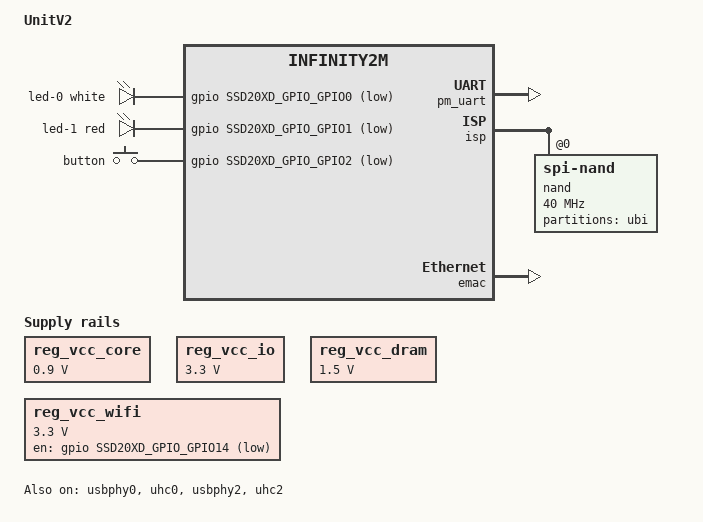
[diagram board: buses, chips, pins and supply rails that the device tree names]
// SPDX-License-Identifier: GPL-2.0-or-later
/*
 * Copyright (c) 2021 thingy.jp.
 * Author: Daniel Palmer <daniel@thingy.jp>
 */

/dts-v1/;
#include "mstar-infinity2m-ssd202d.dtsi"

#include <dt-bindings/gpio/gpio.h>
#include <dt-bindings/leds/common.h>

/ {
	model = "UnitV2";
	compatible = "m5stack,unitv2", "mstar,infinity2m";

	aliases {
		serial0 = &pm_uart;
	};

	chosen {
		stdout-path = "serial0:115200n8";
	};

	leds {
		compatible = "gpio-leds";
		led-0 {
			color = <LED_COLOR_ID_WHITE>;
			function = LED_FUNCTION_INDICATOR;
			gpios = <&gpio SSD20XD_GPIO_GPIO0 GPIO_ACTIVE_LOW>;
			linux,default-trigger = "activity";
		};
		led-1 {
			color = <LED_COLOR_ID_RED>;
			function = LED_FUNCTION_INDICATOR;
			gpios = <&gpio SSD20XD_GPIO_GPIO1 GPIO_ACTIVE_LOW>;
			linux,default-trigger = "heartbeat";
		};
	};

	gpio-keys {
		compatible = "gpio-keys-polled";
		poll-interval = <100>;

		button {
			label = "button";
			gpios = <&gpio SSD20XD_GPIO_GPIO2 GPIO_ACTIVE_LOW>;
			linux,code = <0x100>; /* BTN_0 */
		};
	};

	reg_vcc_core: regulator-vcc-core {
		compatible = "regulator-fixed";
		regulator-name = "vcc_core";
		regulator-min-microvolt = <900000>;
		regulator-max-microvolt = <900000>;
		regulator-boot-on;
	};

	reg_vcc_io: regulator-vcc-io {
		compatible = "regulator-fixed";
		regulator-name = "vcc_io";
		regulator-min-microvolt = <3300000>;
		regulator-max-microvolt = <3300000>;
		regulator-boot-on;
	};

	reg_vcc_dram: regulator-vcc-dram {
		compatible = "regulator-fixed";
		regulator-name = "vcc_dram";
		regulator-min-microvolt = <1500000>;
		regulator-max-microvolt = <1500000>;
		regulator-boot-on;
	};

	reg_vcc_wifi: regulator-vcc-wifi {
		compatible = "regulator-fixed";
		regulator-name = "vcc_wifi";
		regulator-min-microvolt = <3300000>;
		regulator-max-microvolt = <3300000>;
		gpios = <&gpio SSD20XD_GPIO_GPIO14 0>;
	};
};

&cpu0 {
	cpu-supply = <&reg_vcc_core>;
};

&pm_uart {
	status = "okay";
};

&isp {
	status = "okay";
	nand: nand@0 {
		#address-cells = <1>;
		#size-cells = <1>;
		compatible = "spi-nand";
		reg = <0>;
		spi-max-frequency = <40000000>;
		spi-rx-bus-width = <4>;
		partitions {
			compatible = "fixed-partitions";
			#address-cells = <1>;
			#size-cells = <1>;
			ubi@0x000000ec0000 {
				label = "ubi";
				reg = <0xec0000 0x1f140000>;
			};
		};
	};
};

&usbphy0 {
	status = "okay";
};

&uhc0 {
	status = "okay";
};

&usbphy2 {
	vbus-supply = <&reg_vcc_wifi>;
	status = "okay";
};

&uhc2 {
	status = "okay";
};

&emac {
	status = "okay";
};

&miu {
	ddr-supply = <&reg_vcc_dram>;
};
